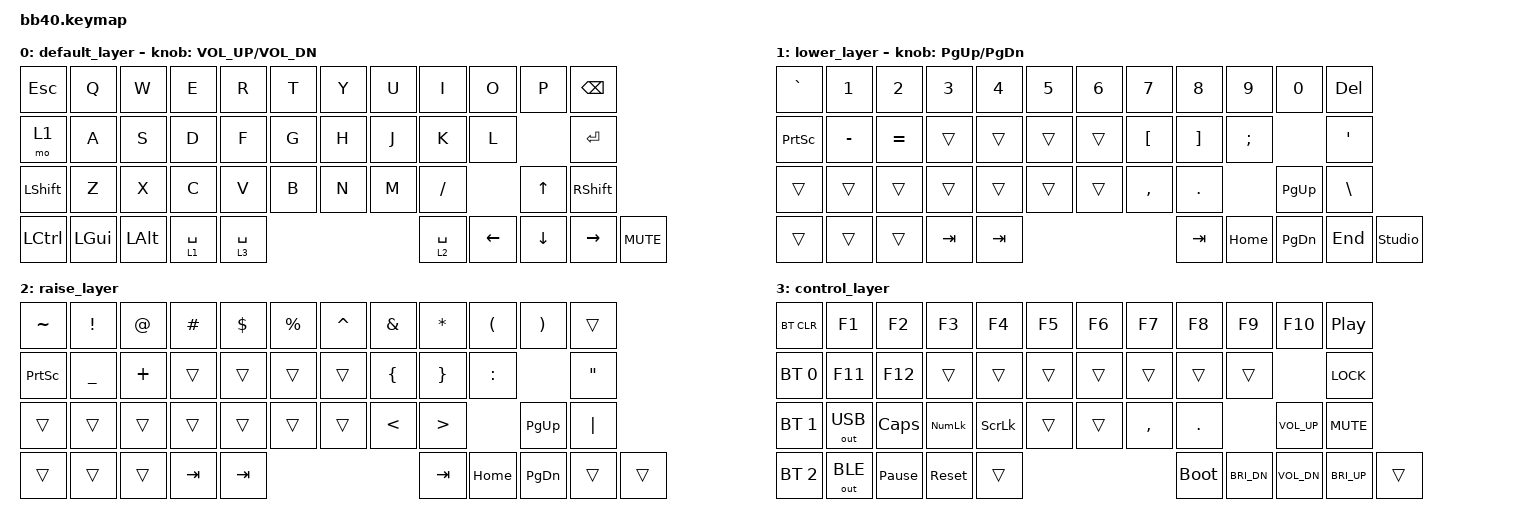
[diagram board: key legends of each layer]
/*
 * Copyright (c) 2023 The ZMK Contributors
 *
 * SPDX-License-Identifier: MIT
 */

#include <behaviors.dtsi>
#include <dt-bindings/zmk/keys.h>
#include <dt-bindings/zmk/bt.h>
#include <dt-bindings/zmk/outputs.h>

// Remove this node if you didn't build with an encoder.
&encoder {
    status = "okay";
};

/ {
    keymap {
        compatible = "zmk,keymap";

        default_layer {
            bindings = <
                &kp ESC    &kp Q     &kp W     &kp E  &kp R     &kp T      &kp Y   &kp U  &kp I     &kp O     &kp P     &kp BSPC
                &mo 1      &kp A     &kp S     &kp D  &kp F     &kp G      &kp H   &kp J  &kp K     &kp L               &kp ENTER
                &kp LSHFT  &kp Z     &kp X     &kp C  &kp V     &kp B      &kp N   &kp M  &kp FSLH            &kp UP    &kp RSHFT
                &kp LCTRL  &kp LGUI  &kp LALT  &lt 1 SPACE      &lt 3 SPACE        &lt 2 SPACE      &kp LEFT  &kp DOWN  &kp RIGHT  &kp C_MUTE
            >;
            sensor-bindings = <&inc_dec_kp C_VOL_UP C_VOL_DN>;
        };

        lower_layer {
            bindings = <
                &kp GRAVE  &kp N1     &kp N2     &kp N3  &kp N4  &kp N5  &kp N6  &kp N7     &kp N8    &kp N9     &kp N0     &kp DEL
                &kp PSCRN  &kp MINUS  &kp EQUAL  &trans  &trans  &trans  &trans  &kp LBKT   &kp RBKT  &kp SEMI              &kp APOS
                &trans     &trans     &trans     &trans  &trans  &trans  &trans  &kp COMMA  &kp DOT              &kp PG_UP  &kp BSLH
                &trans     &trans     &trans     &kp TAB         &kp TAB         &kp TAB              &kp HOME   &kp PG_DN  &kp END  &studio_unlock
            >;
            sensor-bindings = <&inc_dec_kp PG_UP PG_DN>;
        };

        raise_layer {
            bindings = <
                &kp TILDE  &kp EXCL   &kp AT    &kp HASH  &kp DLLR  &kp PRCNT  &kp CARET  &kp AMPS  &kp STAR  &kp LPAR   &kp RPAR   &trans
                &kp PSCRN  &kp UNDER  &kp PLUS  &trans    &trans    &trans     &trans     &kp LBRC  &kp RBRC  &kp COLON             &kp DQT
                &trans     &trans     &trans    &trans    &trans    &trans     &trans     &kp LT    &kp GT               &kp PG_UP  &kp PIPE
                &trans     &trans     &trans    &kp TAB             &kp TAB               &kp TAB             &kp HOME   &kp PG_DN  &trans   &trans
            >;
        };

        control_layer {
            bindings = <
                &bt BT_CLR    &kp F1        &kp F2           &kp F3      &kp F4    &kp F5  &kp F6  &kp F7     &kp F8   &kp F9        &kp F10       &kp C_PP
                &bt BT_SEL 0  &kp F11       &kp F12          &trans      &trans    &trans  &trans  &trans     &trans   &trans                      &kp K_LOCK
                &bt BT_SEL 1  &out OUT_USB  &kp CAPS         &kp KP_NUM  &kp SLCK  &trans  &trans  &kp COMMA  &kp DOT                &kp K_VOL_UP  &kp K_MUTE
                &bt BT_SEL 2  &out OUT_BLE  &kp PAUSE_BREAK  &sys_reset            &trans          &bootloader         &kp C_BRI_DN  &kp K_VOL_DN  &kp C_BRI_UP   &trans
            >;
        };
    };
};
